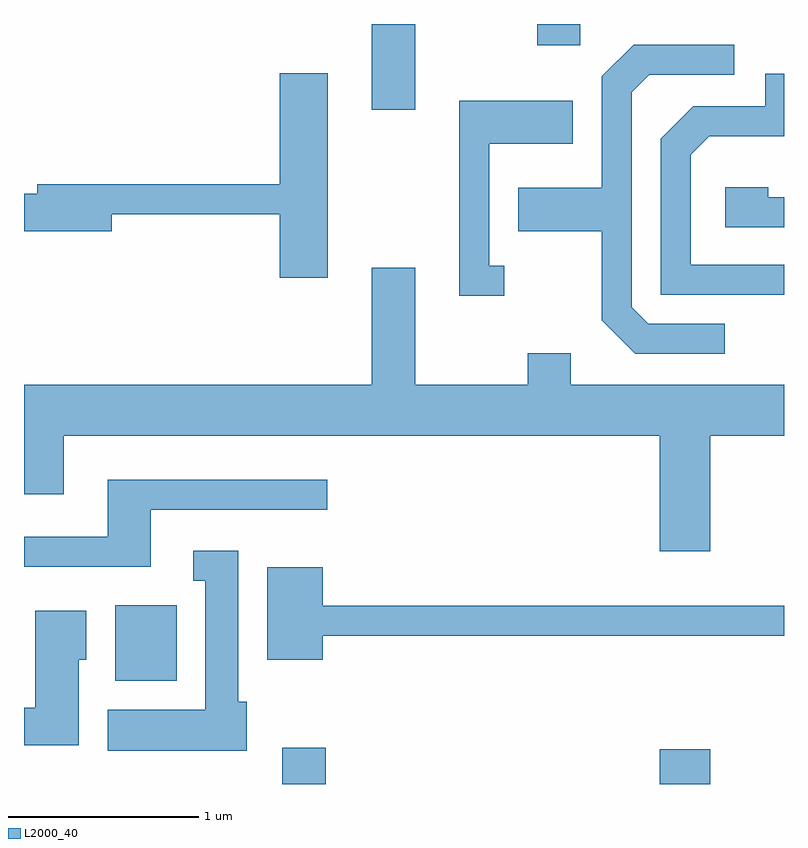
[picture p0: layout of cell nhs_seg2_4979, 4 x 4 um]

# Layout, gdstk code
import gdstk
lib = gdstk.Library(unit=1e-6, precision=1e-09)
def R(c, l, rs):  # rectangles x0, y0, x1, y1
    for r in rs: c.add(gdstk.rectangle(r[:2], r[2:], *l))
def P(c, l, *ps):  # polygons
    for p in ps: c.add(gdstk.Polygon(p, *l))
L2000_40 = (2000, 40)

nhs_seg2_4979 = lib.new_cell('nhs_seg2_4979')
R(nhs_seg2_4979, L2000_40, [(332.971,1059.802,333.199,1059.994), (334.956,1059.802,335.224,1059.984), (332.091,1060.346,332.414,1060.744), (333.441,1063.351,333.669,1063.802), (334.311,1063.691,334.539,1063.802)])
P(nhs_seg2_4979, L2000_40, [(335.298,1062.224),(334.897,1062.224),(334.809,1062.312),(334.809,1063.444),(334.902,1063.536),(335.348,1063.536),(335.348,1063.694),(334.819,1063.694),(334.651,1063.527),(334.651,1062.939),(334.211,1062.939),(334.211,1062.711),(334.651,1062.711),(334.651,1062.244),(334.829,1062.066),(335.298,1062.066)],
  [(333.209,1063.544),(332.956,1063.544),(332.956,1062.959),(331.681,1062.959),(331.681,1062.909),(331.611,1062.909),(331.611,1062.711),(332.074,1062.711),(332.074,1062.801),(332.956,1062.801),(332.956,1062.466),(333.209,1062.466)],
  [(335.611,1062.534),(335.119,1062.534),(335.119,1063.114),(335.217,1063.211),(335.611,1063.211),(335.611,1063.539),(335.511,1063.539),(335.511,1063.369),(335.134,1063.369),(334.961,1063.197),(334.961,1062.376),(335.611,1062.376)],
  [(334.138,1062.529),(334.059,1062.529),(334.059,1063.171),(334.499,1063.171),(334.499,1063.399),(333.901,1063.399),(333.901,1062.371),(334.138,1062.371)],
  [(335.611,1062.889),(335.529,1062.889),(335.529,1062.944),(335.301,1062.944),(335.301,1062.731),(335.611,1062.731)],
  [(335.224,1061.636),(335.611,1061.636),(335.611,1061.904),(334.489,1061.904),(334.489,1062.069),(334.261,1062.069),(334.261,1061.904),(333.669,1061.904),(333.669,1062.519),(333.441,1062.519),(333.441,1061.904),(331.611,1061.904),(331.611,1061.326),(331.819,1061.326),(331.819,1061.636),(334.956,1061.636),(334.956,1061.026),(335.224,1061.026)],
  [(332.279,1061.246),(333.208,1061.246),(333.208,1061.404),(332.051,1061.404),(332.051,1061.104),(331.611,1061.104),(331.611,1060.946),(332.279,1060.946)],
  [(332.784,1060.234),(332.739,1060.234),(332.739,1061.029),(332.503,1061.029),(332.503,1060.871),(332.566,1060.871),(332.566,1060.194),(332.051,1060.194),(332.051,1059.976),(332.784,1059.976)],
  [(333.184,1060.581),(335.611,1060.581),(335.611,1060.739),(333.184,1060.739),(333.184,1060.944),(332.891,1060.944),(332.891,1060.456),(333.184,1060.456)],
  [(331.899,1060.456),(331.939,1060.456),(331.939,1060.714),(331.671,1060.714),(331.671,1060.204),(331.611,1060.204),(331.611,1060.006),(331.899,1060.006)])

lib.write_gds('nhs_seg2_4979.gds')
